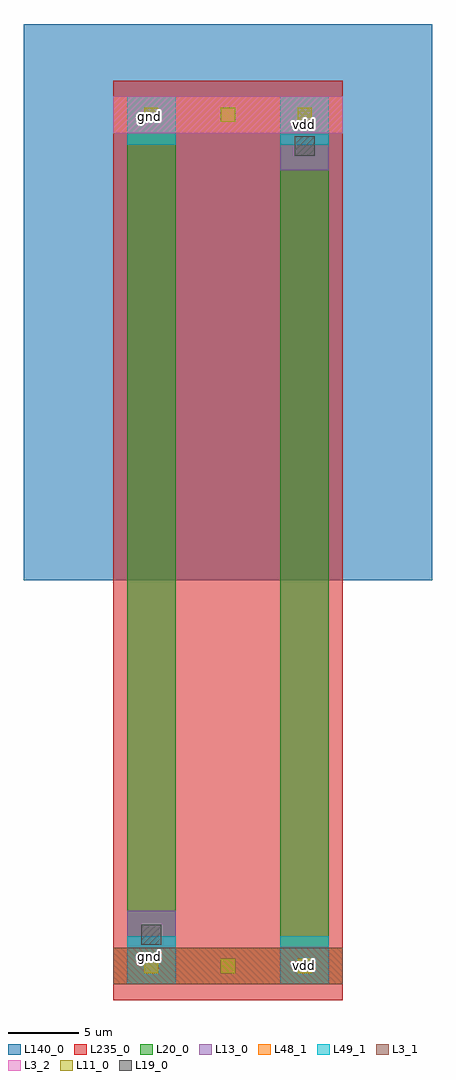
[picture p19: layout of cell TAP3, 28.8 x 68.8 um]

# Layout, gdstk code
import gdstk
lib = gdstk.Library(unit=1e-6, precision=1e-09)
def R(c, l, rs):  # rectangles x0, y0, x1, y1
    for r in rs: c.add(gdstk.rectangle(r[:2], r[2:], *l))
def A(c, l, x, y, w, h, nx, ny, dx, dy):  # array of equal rectangles
    R(c, l, [(x+i*dx, y+j*dy, x+i*dx+w, y+j*dy+h) for i in range(nx) for j in range(ny)])
def P(c, l, *ps):  # polygons
    for p in ps: c.add(gdstk.Polygon(p, *l))
L3_1 = (3, 1)
L3_2 = (3, 2)
L11_0 = (11, 0)
L13_0 = (13, 0)
L19_0 = (19, 0)
L20_0 = (20, 0)
L48_1 = (48, 1)
L49_1 = (49, 1)
L140_0 = (140, 0)
L235_0 = (235, 0)

tap3 = lib.new_cell('TAP3')
R(tap3, L3_1, [(0,1.1,16.2,3.7)])
R(tap3, L3_2, [(0,61.1,16.2,63.7)])
A(tap3, L11_0, 2.2, 1.9, 1, 1, 3, 2, 5.4, 60)
R(tap3, L11_0, [(13,1.9,14,2.9), (2.2,61.9,3.2,62.9)])
P(tap3, L13_0, [(0,1.1),(0,3.7),(1,3.7),(1,6.3),(4.4,6.3),(4.4,3.7),(16.2,3.7),(16.2,1.1)],
  [(11.8,58.5),(11.8,61.1),(0,61.1),(0,63.7),(16.2,63.7),(16.2,61.1),(15.2,61.1),(15.2,58.5)])
R(tap3, L19_0, [(2,3.9,3.4,5.3), (12.8,59.5,14.2,60.9)])
R(tap3, L20_0, [(1,1.1,4.4,63.7), (11.8,1.1,15.2,63.7)])
R(tap3, L48_1, [(0,1.1,16.2,3.7), (0,61.1,16.2,63.7)])
R(tap3, L49_1, [(1,1.1,4.4,4.5), (11.8,1.1,15.2,4.5), (1,60.3,4.4,63.7), (11.8,60.3,15.2,63.7)])
R(tap3, L140_0, [(-6.3,29.6,22.5,68.8)])
R(tap3, L235_0, [(0,0,16.2,64.8)])
tap3.add(gdstk.Label('vdd', (13.5,61.7), layer=49, texttype=0))
tap3.add(gdstk.Label('gnd', (2.6,3.1), layer=49, texttype=0))
tap3.add(gdstk.Label('vdd', (13.5,2.4), layer=49, texttype=0))
tap3.add(gdstk.Label('gnd', (2.6,62.3), layer=49, texttype=0))
tap3.add(gdstk.Label('gnd', (2.7,2.4), layer=48, texttype=0))
tap3.add(gdstk.Label('vdd', (2.7,62.5), layer=48, texttype=0))

lib.write_gds('TAP3.gds')
